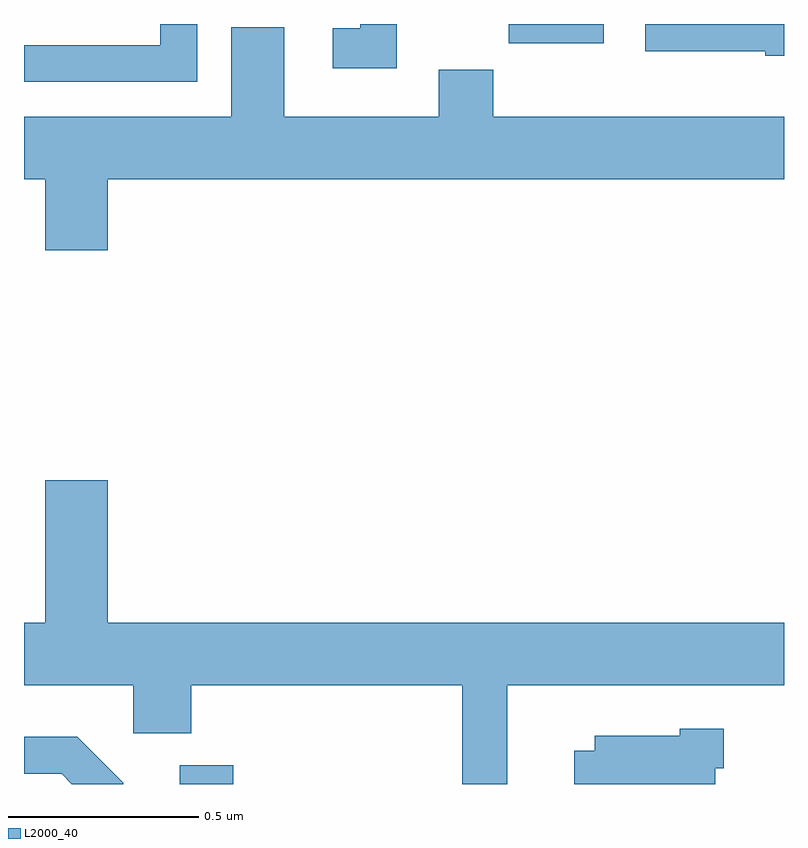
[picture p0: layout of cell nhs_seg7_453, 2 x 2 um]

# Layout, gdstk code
import gdstk
lib = gdstk.Library(unit=1e-6, precision=1e-09)
def R(c, l, rs):  # rectangles x0, y0, x1, y1
    for r in rs: c.add(gdstk.rectangle(r[:2], r[2:], *l))
def P(c, l, *ps):  # polygons
    for p in ps: c.add(gdstk.Polygon(p, *l))
L2000_40 = (2000, 40)

nhs_seg7_453 = lib.new_cell('nhs_seg7_453')
R(nhs_seg7_453, L2000_40, [(117.41,1023,117.551,1023.049), (118.276,1024.95,118.525,1025)])
P(nhs_seg7_453, L2000_40, [(117.456,1025),(117.359,1025),(117.359,1024.944),(117,1024.944),(117,1024.848),(117.456,1024.848)],
  [(119,1025),(118.635,1025),(118.635,1024.928),(118.95,1024.928),(118.95,1024.916),(119,1024.916)],
  [(117.981,1025),(117.885,1025),(117.885,1024.989),(117.813,1024.989),(117.813,1024.884),(117.981,1024.884)],
  [(117.22,1024.592),(119,1024.592),(119,1024.756),(118.235,1024.756),(118.235,1024.88),(118.091,1024.88),(118.091,1024.756),(117.685,1024.756),(117.685,1024.992),(117.545,1024.992),(117.545,1024.756),(117,1024.756),(117,1024.592),(117.056,1024.592),(117.056,1024.404),(117.22,1024.404)],
  [(118.272,1023.26),(119,1023.26),(119,1023.424),(117.22,1023.424),(117.22,1023.799),(117.056,1023.799),(117.056,1023.424),(117,1023.424),(117,1023.26),(117.288,1023.26),(117.288,1023.134),(117.44,1023.134),(117.44,1023.26),(118.153,1023.26),(118.153,1023),(118.272,1023)],
  [(118.819,1023.041),(118.841,1023.041),(118.841,1023.145),(118.725,1023.145),(118.725,1023.127),(118.502,1023.127),(118.502,1023.088),(118.448,1023.088),(118.448,1023),(118.819,1023)],
  [(117.261,1023.003),(117.14,1023.124),(117,1023.124),(117,1023.027),(117.099,1023.027),(117.126,1023),(117.261,1023)])

lib.write_gds('nhs_seg7_453.gds')
